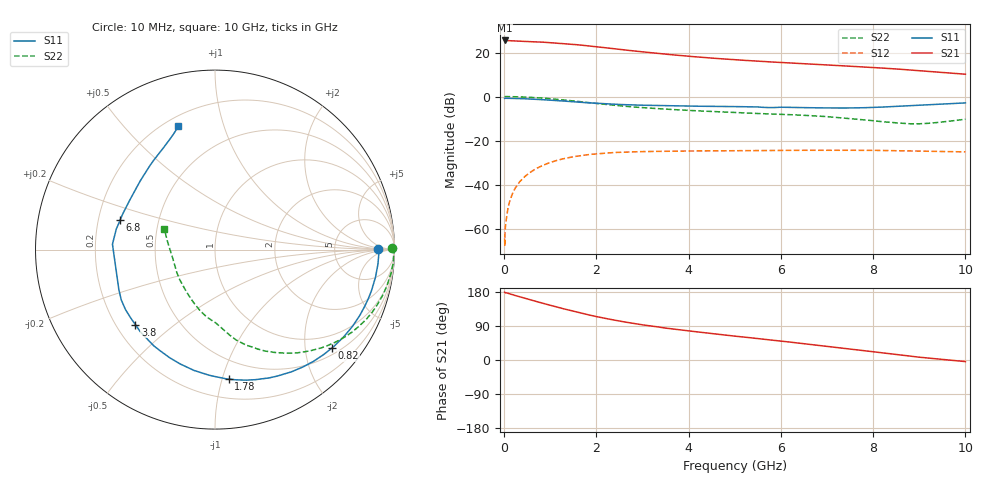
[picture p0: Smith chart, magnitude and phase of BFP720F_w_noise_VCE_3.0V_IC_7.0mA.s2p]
! Infineon Technologies  Discrete & RF Semiconductors
! BFP720F
! VCE =  3.0 V,  IC =  7.0 mA
! Common Emitter S-Parameters:  Jan 2016
# GHz  S  MA  R  50
!  f  S11  S21  S12  S22
! GHz  MAG  ANG  MAG  ANG  MAG  ANG  MAG  ANG
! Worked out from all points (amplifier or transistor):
!   233 points, 10 MHz to 10 GHz, reference 50 ohm
!   highest |S21| = 25.5 dB at 10 MHz (marker M1)
!   |S21| within 3 dB of that: start of sweep to 2.061 GHz
!   unconditionally stable (mu >= 1): 7.258 GHz to end of sweep
!   at 200 MHz: K = 0.05, MSG = 34.2 dB, |S12| = -43.2 dB
!   at 1.74 GHz: K = 0.25, MSG = 24.9 dB, |S12| = -26.6 dB
!   at 10 GHz: K = 1.29, MAG = 14.4 dB, |S12| = -25.1 dB
!   lowest NFmin = 0.48 dB at 450 MHz
!   S11 on the Smith chart (normalised r, x): 10 MHz: 21, +0; 820 MHz: 0.65, -2.60; 1.78 GHz: 0.34, -1.05; 3.8 GHz: 0.28, -0.37; 6.8 GHz: 0.29, +0.14; 10 GHz: 0.25, +0.72
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0.01  0.9084 0.1  18.79 179.1  0.0006 -42.5  0.985 0.4
0.015  0.9111 -0.4  18.64 178.2  0.0004 44.5  0.9916 -0.4
0.02  0.9139 -0.8  18.51 177.3  0.0009 86.2  0.9983 -1.2
0.05  0.9116 -2.4  18.66 177.4  0.0017 89.4  0.9958 -1.6
0.22  0.9055 -10.8  18.32 170.9  0.0076 83.2  0.9905 -6.9
0.5  0.8864 -24.3  17.78 161.3  0.0169 75.3  0.967 -15.6
0.82  0.8515 -40.0  17.24 150.3  0.0268 66.0  0.9247 -25.3
1  0.83 -48.6  16.74 144.4  0.0318 60.9  0.8939 -30.6
1.28  0.7915 -61.7  15.9 135.4  0.0386 53.5  0.84 -38.3
1.68  0.7372 -79.9  14.68 123.3  0.046 43.9  0.7582 -48.6
1.78  0.7257 -84.0  14.31 120.5  0.0474 41.7  0.739 -51.0
2.2  0.6834 -99.8  12.82 109.6  0.0521 33.5  0.6631 -59.8
2.6  0.6548 -112.2  11.49 100.6  0.0546 27.0  0.6043 -66.6
3  0.6356 -122.4  10.36 92.8  0.0562 22.3  0.5597 -72.0
3.4  0.6208 -130.1  9.391 86.1  0.0571 18.4  0.5256 -75.8
3.8  0.6101 -136.7  8.585 79.8  0.0577 15.1  0.4971 -78.8
4.5  0.6004 -146.1  7.469 69.6  0.0585 10.4  0.458 -82.9
5.1  0.5898 -152.9  6.754 61.8  0.0591 7.2  0.4298 -86.3
6.8  0.5535 162.6  5.355 38.9  0.0602 -0.5  0.3598 -101.2
8.4  0.5909 128.1  4.3 15.9  0.0593 -7.4  0.2579 -139.9
9  0.6355 116.9  3.863 7.4  0.0576 -9.3  0.2406 -168.8
10  0.717 106.5  3.218 -4.2  0.0554 -10.7  0.3059 157.6
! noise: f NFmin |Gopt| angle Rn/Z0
0.45  0.48  0.4  3  0.2
0.9  0.5  0.38  9  0.16
1.8  0.54  0.35  18  0.15
2.4  0.57  0.33  28  0.13
5.5  0.74  0.31  57  0.09
10  0.96  0.26  -100  0.16
